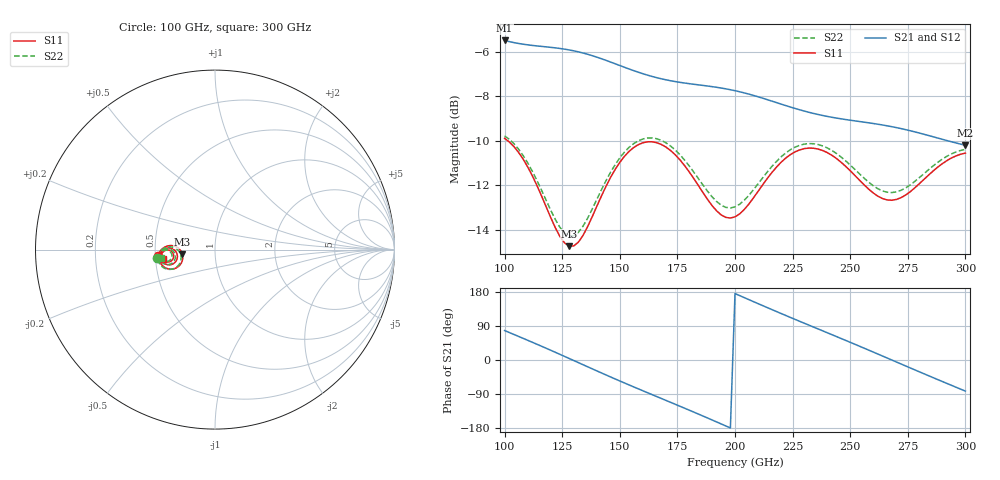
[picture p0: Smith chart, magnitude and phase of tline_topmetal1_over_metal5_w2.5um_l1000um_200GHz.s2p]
#  GHZ S DB R 50
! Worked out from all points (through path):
!   101 points, 100 GHz to 300 GHz, reference 50 ohm
!   highest |S21| = -5.50 dB at 100 GHz (marker M1); lowest = -10.2 dB at 300 GHz (marker M2)
!   group delay of S21, straight-line fit = 7.22 ps
!   lowest |S11| = -14.7 dB at 128 GHz (marker M3), VSWR 1.45, Z = 34.6 - j1.88 ohm
!   |S11| at or under -10 dB: 101.3 GHz to end of sweep
!   |S22| runs from -14.3 to -9.8 dB; largest |S21 - S12| = 4e-14
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100  -9.89 -173.4  -5.50 77.7  -5.50 77.7  -9.78 -172.1
108  -10.82 178.2  -5.67 57.2  -5.67 57.2  -10.66 179.7
116  -12.47 174.7  -5.77 36.4  -5.77 36.4  -12.21 176.4
128  -14.73 -171.8  -5.93 4.1  -5.93 4.1  -14.27 -171.0
134  -14.25 -160.7  -6.06 -12.3  -6.06 -12.3  -13.84 -160.8
144  -12.05 -154.8  -6.39 -39.4  -6.39 -39.4  -11.79 -155.3
152  -10.70 -159.2  -6.70 -60.6  -6.70 -60.6  -10.51 -159.4
160  -10.09 -166.5  -6.99 -81.2  -6.99 -81.2  -9.92 -166.3
168  -10.16 -174.1  -7.22 -101.5  -7.22 -101.5  -9.98 -173.5
176  -10.85 -180.0  -7.38 -121.8  -7.38 -121.8  -10.62 -179.1
186  -12.31 178.4  -7.52 -147.6  -7.52 -147.6  -11.97 179.4
200  -13.41 -168.8  -7.76 175.3  -7.76 175.3  -12.97 -169.0
208  -12.56 -162.1  -7.97 154.1  -7.97 154.1  -12.20 -163.0
218  -11.18 -162.1  -8.29 127.9  -8.29 127.9  -10.93 -163.0
226  -10.50 -166.4  -8.55 107.4  -8.55 107.4  -10.29 -167.0
234  -10.34 -171.8  -8.77 87.1  -8.77 87.1  -10.13 -172.2
242  -10.65 -176.7  -8.95 67.0  -8.95 67.0  -10.43 -176.8
252  -11.55 -179.4  -9.11 41.6  -9.11 41.6  -11.28 -179.4
268  -12.67 -171.9  -9.37 0.1  -9.37 0.1  -12.32 -172.5
276  -12.29 -166.8  -9.55 -20.7  -9.55 -20.7  -11.98 -167.8
286  -11.36 -165.2  -9.82 -46.6  -9.82 -46.6  -11.13 -166.4
300  -10.56 -170.2  -10.20 -82.1  -10.20 -82.1  -10.39 -171.1
